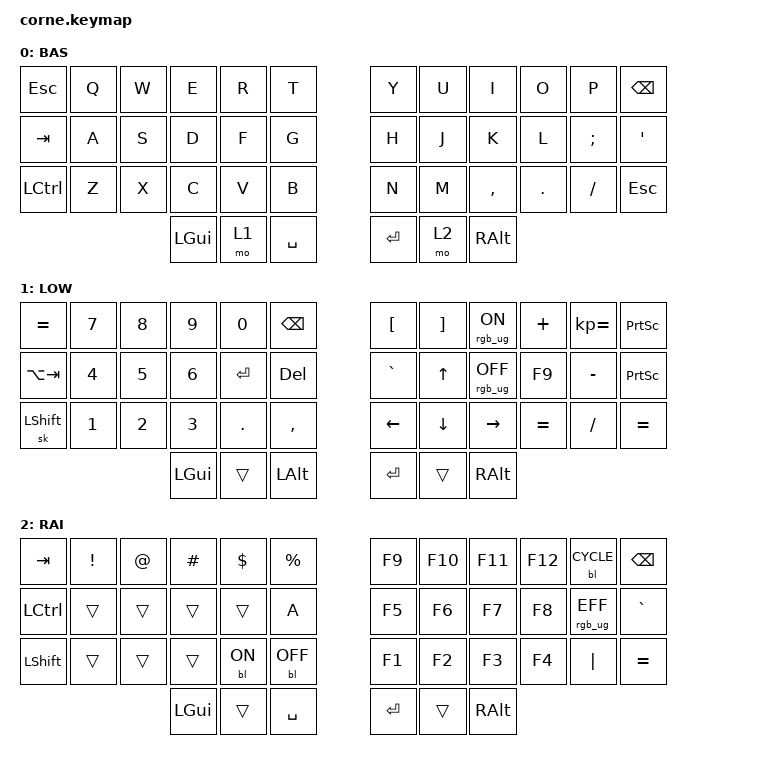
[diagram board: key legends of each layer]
/*
 * Copyright (c) 2020 The ZMK Contributors
 *
 * SPDX-License-Identifier: MIT
 */

#include <dt-bindings/led/led.h>
#include <dt-bindings/zmk/reset.h>
#include <behaviors.dtsi>
#include <dt-bindings/zmk/backlight.h>
#include <dt-bindings/zmk/keys.h>
#include <dt-bindings/zmk/rgb.h>

&led_strip { chain-length = <27>; };

/ {
    keymap {
        compatible = "zmk,keymap";

        default_layer {
            display-name = "BAS";

            // -----------------------------------------------------------------------------------------
            // |  TAB |  Q  |  W  |  E  |  R  |  T  |   |  Y  |  U   |  I  |  O  |  P  | BKSP |
            // | CTRL |  A  |  S  |  D  |  F  |  G  |   |  H  |  J   |  K  |  L  |  ;  |  '   |
            // | SHFT |  Z  |  X  |  C  |  V  |  B  |   |  N  |  M   |  ,  |  .  |  /  | ESC  |
            //                    | GUI | LWR | SPC |   | ENT | RSE  | ALT |

            bindings = <
&kp ESCAPE  &kp Q  &kp W  &kp E     &kp R  &kp T        &kp Y    &kp U  &kp I      &kp O    &kp P     &kp BSPC
&kp TAB     &kp A  &kp S  &kp D     &kp F  &kp G        &kp H    &kp J  &kp K      &kp L    &kp SEMI  &kp SQT
&kp LCTRL   &kp Z  &kp X  &kp C     &kp V  &kp B        &kp N    &kp M  &kp COMMA  &kp DOT  &kp FSLH  &kp ESC
                          &kp LGUI  &mo 1  &kp SPACE    &kp RET  &mo 2  &kp RALT
            >;
        };

        lower_layer {
            display-name = "LOW";

            // -----------------------------------------------------------------------------------------
            // |  TAB |  1  |  2  |  3  |  4  |  5  |   |  6  |  7  |  8  |  9  |  0  | BKSP |
            // | BTCLR| BT1 | BT2 | BT3 | BT4 | BT5 |   | LFT | DWN |  UP | RGT |     |      |
            // | SHFT |     |     |     |     |     |   |     |     |     |     |     |      |
            //                    | GUI |     | SPC |   | ENT |     | ALT |

            bindings = <
&kp EQUAL    &kp N7        &kp N8        &kp N9        &kp N0     &kp BACKSPACE    &kp LEFT_BRACKET  &kp RIGHT_BRACKET  &rgb_ug RGB_ON   &kp PLUS   &kp KP_EQUAL  &kp PRINTSCREEN
&kp LA(TAB)  &kp NUMBER_4  &kp N5        &kp NUMBER_6  &kp ENTER  &kp DEL          &kp GRAVE         &kp UP_ARROW       &rgb_ug RGB_OFF  &kp F9     &kp MINUS     &kp PRINTSCREEN
&sk LSHFT    &kp NUMBER_1  &kp NUMBER_2  &kp NUMBER_3  &kp DOT    &kp COMMA        &kp LEFT_ARROW    &kp DOWN_ARROW     &kp RIGHT        &kp EQUAL  &kp SLASH     &kp EQUAL
                                         &kp LGUI      &trans     &kp LEFT_ALT     &kp RET           &trans             &kp RALT
            >;
        };

        raise_layer {
            display-name = "RAI";

            // -----------------------------------------------------------------------------------------
            // |  TAB |  !  |  @  |  #  |  $  |  %  |   |  ^  |  &  |  *  |  (  |  )  | BKSP |
            // | CTRL |     |     |     |     |     |   |  -  |  =  |  [  |  ]  |  \  |  `   |
            // | SHFT |     |     |     |     |     |   |  _  |  +  |  {  |  }  | "|" |  ~   |
            //                    | GUI |     | SPC |   | ENT |     | ALT |

            bindings = <
&kp TAB    &kp EXCL  &kp AT  &kp HASH  &kp DLLR   &kp PRCNT     &kp F9   &kp F10  &kp F11   &kp F12  &bl BL_CYCLE     &kp BSPC
&kp LCTRL  &trans    &trans  &trans    &trans     &kp A         &kp F5   &kp F6   &kp F7    &kp F8   &rgb_ug RGB_EFF  &kp GRAVE
&kp LSHFT  &trans    &trans  &trans    &bl BL_ON  &bl BL_OFF    &kp F1   &kp F2   &kp F3    &kp F4   &kp PIPE         &kp EQUAL
                             &kp LGUI  &trans     &kp SPACE     &kp RET  &trans   &kp RALT
            >;
        };

        extra_1 { status = "reserved"; };

        extra_2 { status = "reserved"; };

        extra_3 { status = "reserved"; };
    };
};
